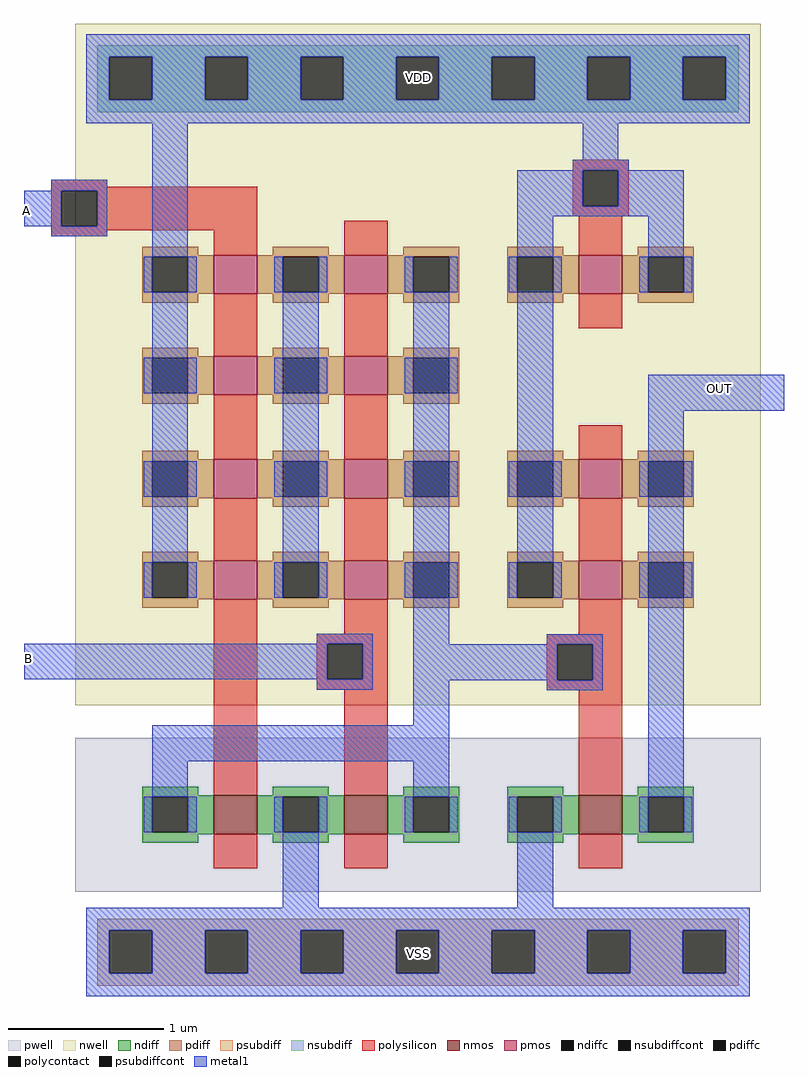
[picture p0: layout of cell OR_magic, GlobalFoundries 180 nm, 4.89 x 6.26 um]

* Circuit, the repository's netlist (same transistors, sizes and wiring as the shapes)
* NGSPICE file created from OR_magic.ext - technology: gf180mcuC

.subckt nmos_3p3_H9QVWA a_n120_n36# a_28_n25# a_n28_n69# VSUBS
X0 a_28_n25# a_n28_n69# a_n120_n36# VSUBS nfet_03v3 ad=0.155p pd=1.64u as=0.155p ps=1.64u w=0.25u l=0.28u
.ends

.subckt pmos_3p3_M8RCNG a_n120_n36# w_n206_n161# a_28_n25# a_n28_n69#
X0 a_28_n25# a_n28_n69# a_n120_n36# w_n206_n161# pfet_03v3 ad=0.155p pd=1.64u as=0.155p ps=1.64u w=0.25u l=0.28u
.ends

.subckt OR_magic A B OUT VDD VSS
Xnmos_3p3_H9QVWA_0 a_607_n374# VSS A VSS nmos_3p3_H9QVWA
Xnmos_3p3_H9QVWA_1 VSS a_607_n374# B VSS nmos_3p3_H9QVWA
Xnmos_3p3_H9QVWA_2 VSS OUT a_607_n374# VSS nmos_3p3_H9QVWA
Xpmos_3p3_M8RCNG_11 m1_267_n209# VDD a_607_n374# B pmos_3p3_M8RCNG
Xpmos_3p3_M8RCNG_10 m1_267_n209# VDD a_607_n374# B pmos_3p3_M8RCNG
Xpmos_3p3_M8RCNG_0 VDD VDD OUT a_607_n374# pmos_3p3_M8RCNG
Xpmos_3p3_M8RCNG_1 VDD VDD m1_267_n209# A pmos_3p3_M8RCNG
Xpmos_3p3_M8RCNG_2 VDD VDD OUT a_607_n374# pmos_3p3_M8RCNG
Xpmos_3p3_M8RCNG_3 VDD VDD m1_267_n209# A pmos_3p3_M8RCNG
Xpmos_3p3_M8RCNG_4 VDD VDD m1_267_n209# A pmos_3p3_M8RCNG
Xpmos_3p3_M8RCNG_6 VDD VDD VDD VDD pmos_3p3_M8RCNG
Xpmos_3p3_M8RCNG_7 VDD VDD m1_267_n209# A pmos_3p3_M8RCNG
Xpmos_3p3_M8RCNG_8 m1_267_n209# VDD a_607_n374# B pmos_3p3_M8RCNG
Xpmos_3p3_M8RCNG_9 m1_267_n209# VDD a_607_n374# B pmos_3p3_M8RCNG
.ends

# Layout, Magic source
magic
tech gf180mcuC
magscale 1 10
<< nwell >>
rect 0 322 882 484
<< pwell >>
rect 0 -633 62 -435
rect 518 -633 532 -435
rect 820 -633 882 -435
<< psubdiff >>
rect 28 -683 854 -668
rect 28 -738 44 -683
rect 99 -738 167 -683
rect 222 -738 290 -683
rect 345 -738 413 -683
rect 468 -738 536 -683
rect 591 -738 659 -683
rect 714 -738 782 -683
rect 837 -738 854 -683
rect 28 -754 854 -738
<< nsubdiff >>
rect 28 441 854 456
rect 28 386 44 441
rect 99 386 167 441
rect 222 386 290 441
rect 345 386 413 441
rect 468 386 536 441
rect 591 386 659 441
rect 714 386 782 441
rect 837 386 854 441
rect 28 370 854 386
<< psubdiffcont >>
rect 44 -738 99 -683
rect 167 -738 222 -683
rect 290 -738 345 -683
rect 413 -738 468 -683
rect 536 -738 591 -683
rect 659 -738 714 -683
rect 782 -738 837 -683
<< nsubdiffcont >>
rect 44 386 99 441
rect 167 386 222 441
rect 290 386 345 441
rect 413 386 468 441
rect 536 386 591 441
rect 659 386 714 441
rect 782 386 837 441
<< polysilicon >>
rect 640 295 712 309
rect -31 274 41 283
rect -31 269 234 274
rect -31 223 -18 269
rect 28 223 234 269
rect 640 249 653 295
rect 699 249 712 295
rect 640 236 712 249
rect 648 230 704 236
rect -31 218 234 223
rect -31 210 41 218
rect 178 -465 234 -301
rect 311 -314 402 -301
rect 648 -302 704 -282
rect 311 -360 324 -314
rect 370 -360 402 -314
rect 311 -373 402 -360
rect 346 -465 402 -373
rect 607 -315 704 -302
rect 607 -361 620 -315
rect 666 -361 704 -315
rect 607 -374 704 -361
rect 648 -465 704 -374
<< polycontact >>
rect -18 223 28 269
rect 653 249 699 295
rect 324 -360 370 -314
rect 620 -361 666 -315
<< metal1 >>
rect 14 441 868 470
rect 14 386 44 441
rect 99 386 167 441
rect 222 386 290 441
rect 345 386 413 441
rect 468 386 536 441
rect 591 386 659 441
rect 714 386 782 441
rect 837 386 868 441
rect 14 356 868 386
rect -31 269 41 283
rect -66 223 -18 269
rect 28 223 41 269
rect -31 210 41 223
rect 99 184 145 356
rect 653 309 699 356
rect 640 295 712 309
rect 569 249 653 295
rect 699 249 783 295
rect 569 236 783 249
rect 569 184 615 236
rect 737 184 783 236
rect 99 -209 145 138
rect 267 -209 313 138
rect 311 -314 383 -301
rect -66 -360 324 -314
rect 370 -360 383 -314
rect 311 -373 383 -360
rect 435 -315 481 138
rect 569 -209 615 140
rect 737 -14 912 32
rect 607 -315 679 -302
rect 435 -361 620 -315
rect 666 -361 679 -315
rect 435 -419 481 -361
rect 607 -374 679 -361
rect 99 -465 481 -419
rect 99 -511 145 -465
rect 435 -511 481 -465
rect 737 -511 783 -14
rect 267 -654 313 -557
rect 569 -654 615 -557
rect 14 -683 868 -654
rect 14 -738 44 -683
rect 99 -738 167 -683
rect 222 -738 290 -683
rect 345 -738 413 -683
rect 468 -738 536 -683
rect 591 -738 659 -683
rect 714 -738 782 -683
rect 837 -738 868 -683
rect 14 -768 868 -738
use nmos_3p3_H9QVWA  nmos_3p3_H9QVWA_0
transform 1 0 206 0 1 -534
box -144 -99 144 99
use nmos_3p3_H9QVWA  nmos_3p3_H9QVWA_1
transform 1 0 374 0 1 -534
box -144 -99 144 99
use nmos_3p3_H9QVWA  nmos_3p3_H9QVWA_2
transform 1 0 676 0 1 -534
box -144 -99 144 99
use pmos_3p3_M8RCNG  pmos_3p3_M8RCNG_0
transform 1 0 676 0 1 -232
box -206 -161 206 161
use pmos_3p3_M8RCNG  pmos_3p3_M8RCNG_1
transform 1 0 206 0 1 -232
box -206 -161 206 161
use pmos_3p3_M8RCNG  pmos_3p3_M8RCNG_2
transform 1 0 676 0 1 -102
box -206 -161 206 161
use pmos_3p3_M8RCNG  pmos_3p3_M8RCNG_3
transform 1 0 206 0 1 -102
box -206 -161 206 161
use pmos_3p3_M8RCNG  pmos_3p3_M8RCNG_4
transform 1 0 206 0 1 31
box -206 -161 206 161
use pmos_3p3_M8RCNG  pmos_3p3_M8RCNG_6
transform 1 0 676 0 1 161
box -206 -161 206 161
use pmos_3p3_M8RCNG  pmos_3p3_M8RCNG_7
transform 1 0 206 0 1 161
box -206 -161 206 161
use pmos_3p3_M8RCNG  pmos_3p3_M8RCNG_8
transform 1 0 374 0 1 -232
box -206 -161 206 161
use pmos_3p3_M8RCNG  pmos_3p3_M8RCNG_9
transform 1 0 374 0 1 -102
box -206 -161 206 161
use pmos_3p3_M8RCNG  pmos_3p3_M8RCNG_10
transform 1 0 374 0 1 31
box -206 -161 206 161
use pmos_3p3_M8RCNG  pmos_3p3_M8RCNG_11
transform 1 0 374 0 1 161
box -206 -161 206 161
<< labels >>
flabel metal1 -63 244 -63 244 0 FreeSans 320 0 0 0 A
port 1 nsew
flabel metal1 -60 -333 -60 -333 0 FreeSans 320 0 0 0 B
port 2 nsew
flabel metal1 829 14 829 14 0 FreeSans 320 0 0 0 OUT
port 3 nsew
flabel nsubdiffcont 442 414 442 414 0 FreeSans 480 0 0 0 VDD
port 5 nsew
flabel psubdiffcont 442 -713 442 -713 0 FreeSans 480 0 0 0 VSS
port 7 nsew
<< end >>

# cell nmos_3p3_H9QVWA: kit device nmos_3p3, w 0.250 l 0.280 m 1 nf 1 diffcov 100 polycov 100 guard 0 glc 0 grc 0 gtc 0 gbc 0 tbcov 100 rlcov 100 topc 0 botc 0 poverlap 0 doverlap 1 lmin 0.28 wmin 0.22 full_metal 0 compatible {nmos_3p3 nmos_6p0 nmos_6p0_nat}

# cell pmos_3p3_M8RCNG: kit device pmos_3p3, w 0.250 l 0.280 m 1 nf 1 diffcov 100 polycov 100 guard 0 glc 0 grc 0 gtc 0 gbc 0 tbcov 100 rlcov 100 topc 0 botc 0 poverlap 0 doverlap 1 lmin 0.28 wmin 0.22 full_metal 0 compatible {pmos_3p3 pmos_6p0}
